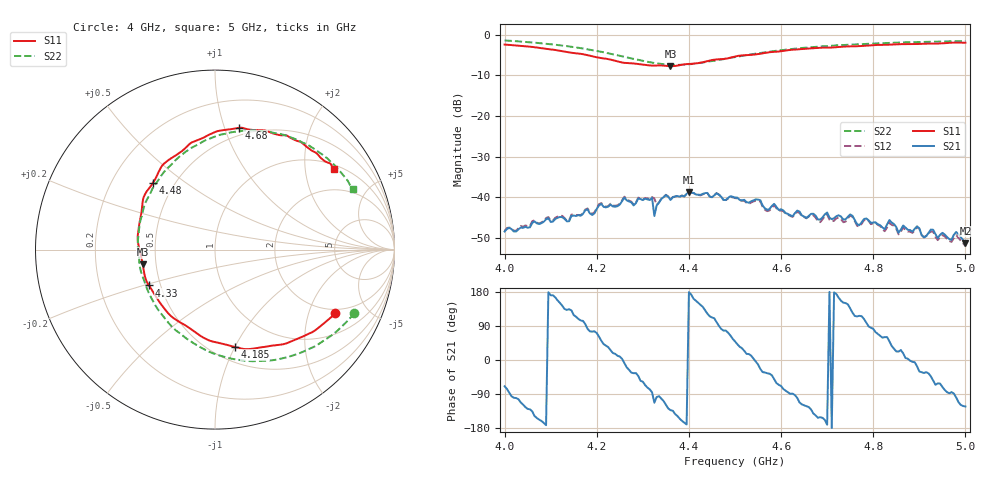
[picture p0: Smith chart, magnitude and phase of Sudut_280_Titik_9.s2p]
# Hz S RI R 50
! CMT, C1220, 16058040, 17.2.0/1
! Date: 15/08/2018 11:35:59
! Data: Format (Calibration Info)
! Freq  S11: Re/Im (F2)  S21: Re/Im (F2)  S12: Re/Im (F2)  S22: Re/Im (F2)
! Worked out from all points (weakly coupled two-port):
!   201 points, 4 GHz to 5 GHz, reference 50 ohm
!   highest |S21| = -38.68 dB at 4.4 GHz (marker M1); lowest = -51.2 dB at 5 GHz (marker M2)
!   lowest |S11| = -7.7 dB at 4.36 GHz (marker M3), VSWR 2.39, Z = 21.1 - j4.12 ohm
!   |S11| at or under -10 dB: nowhere
!   |S22| runs from -7.4 to -1.4 dB; largest |S21 - S12| = 0.0042
!   S11 on the Smith chart (normalised r, x): 4 GHz: 1.80, -3.02; 4.185 GHz: 0.64, -1.00; 4.33 GHz: 0.43, -0.21; 4.48 GHz: 0.38, +0.38; 4.68 GHz: 0.43, +1.12; 5 GHz: 1.14, +2.84
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4e9  0.6697 -0.3559  0.00134 -0.00355  0.00153 -0.00354  0.7752 -0.3534
4.17e9  0.1623 -0.554  -0.00142 0.00607  -0.0015 0.00617  0.275 -0.6198
4.185e9  0.1098 -0.5426  0.00157 0.00614  0.0015 0.00637  0.2112 -0.6219
4.26e9  -0.1724 -0.4175  0.00981 -0.00144  0.0101 -0.00155  -0.1177 -0.5228
4.32e9  -0.3469 -0.2328  0.000816 -0.0098  0.000754 -0.01  -0.3318 -0.3116
4.325e9  -0.3575 -0.2156  -0.00227 -0.00542  -0.00147 -0.00955  -0.344 -0.2894
4.33e9  -0.3687 -0.1995  -0.00106 -0.00788  -0.00121 -0.008  -0.3555 -0.2685
4.335e9  -0.3788 -0.1821  -0.000806 -0.00851  -0.000997 -0.00859  -0.3674 -0.245
4.36e9  -0.4026 -0.0814  -0.00625 -0.00685  -0.00642 -0.00683  -0.412 -0.1249
4.4e9  -0.43 0.0839  -0.0116 0.00017  -0.0116 0.000405  -0.4272 0.0743
4.48e9  -0.3448 0.3734  0.00198 0.00905  0.00223 0.00897  -0.3011 0.4096
4.5e9  -0.308 0.4446  0.00651 0.00752  0.00648 0.00731  -0.2466 0.4707
4.67e9  0.1121 0.6743  -0.00488 -0.00394  -0.00478 -0.00367  0.2475 0.6629
4.68e9  0.131 0.6786  -0.00473 -0.00246  -0.00453 -0.0022  0.2717 0.6598
4.75e9  0.288 0.6607  -0.00443 0.00426  -0.0044 0.00403  0.4319 0.6212
4.825e9  0.4257 0.6201  0.00201 0.00354  0.00197 0.00327  0.5667 0.5516
4.835e9  0.4446 0.6106  0.00341 0.004  0.00314 0.00372  0.5815 0.5408
4.855e9  0.4767 0.5998  0.0034 0.00139  0.00323 0.00135  0.6116 0.5185
4.895e9  0.5339 0.5553  0.00422 -0.00123  0.00413 -0.00103  0.6642 0.4725
4.91e9  0.5564 0.543  0.00265 -0.0018  0.00272 -0.00178  0.6803 0.4536
4.98e9  0.6454 0.4761  -0.000581 -0.0037  -0.000552 -0.00337  0.7496 0.3643
5e9  0.6607 0.4488  -0.00148 -0.0023  -0.00125 -0.00217  0.7676 0.3377
